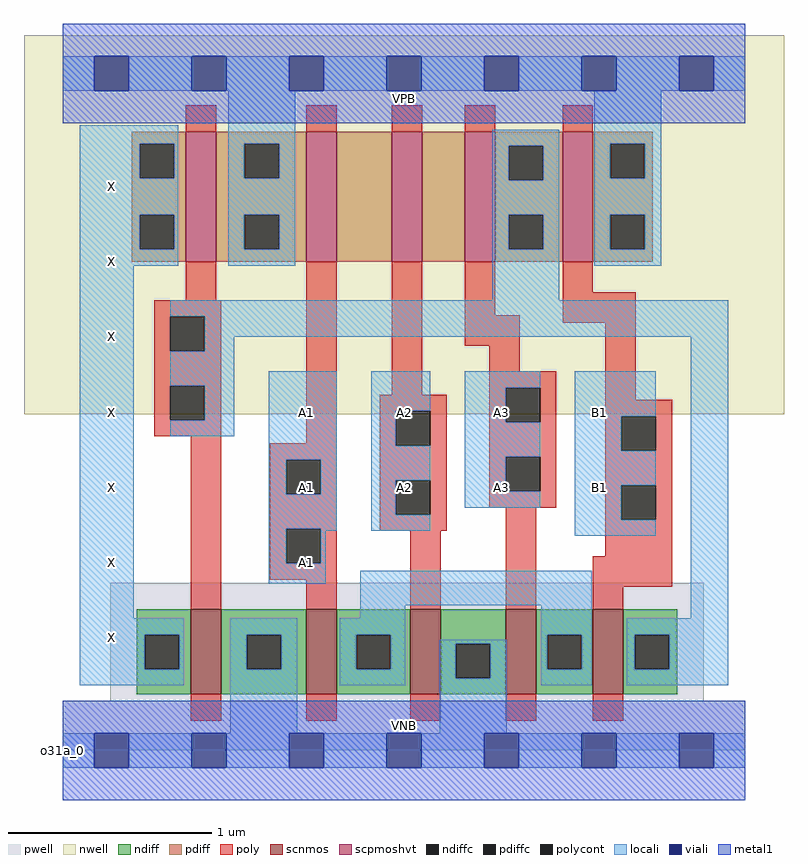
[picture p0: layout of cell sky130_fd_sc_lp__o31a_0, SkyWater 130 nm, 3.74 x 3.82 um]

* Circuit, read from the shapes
.subckt sky130_fd_sc_lp__o31a_0 A1 A2 A3 B1 VGND VNB VPB VPWR X
XM1 VGND n1 X VNB sky130_fd_pr__nfet_01v8 w=0.42 l=0.15
XM2 n2 A1 VGND VNB sky130_fd_pr__nfet_01v8 w=0.42 l=0.15
XM3 VGND A2 n2 VNB sky130_fd_pr__nfet_01v8 w=0.42 l=0.15
XM4 n2 A3 VGND VNB sky130_fd_pr__nfet_01v8 w=0.42 l=0.15
XM5 n1 B1 n2 VNB sky130_fd_pr__nfet_01v8 w=0.42 l=0.15
XM6 VPWR n1 X VPB sky130_fd_pr__pfet_01v8_hvt w=0.64 l=0.15
XM7 n3 A1 VPWR VPB sky130_fd_pr__pfet_01v8_hvt w=0.64 l=0.15
XM8 n4 A2 n3 VPB sky130_fd_pr__pfet_01v8_hvt w=0.64 l=0.15
XM9 n1 A3 n4 VPB sky130_fd_pr__pfet_01v8_hvt w=0.64 l=0.15
XM10 VPWR B1 n1 VPB sky130_fd_pr__pfet_01v8_hvt w=0.64 l=0.15
.ends

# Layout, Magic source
magic
tech sky130A
magscale 1 2
<< nwell >>
rect -38 331 710 704
<< pwell >>
rect 47 49 631 165
rect 0 0 672 49
<< scnmos >>
rect 126 55 156 139
rect 240 55 270 139
rect 342 55 372 139
rect 436 55 466 139
rect 522 55 552 139
<< scpmoshvt >>
rect 121 481 151 609
rect 240 481 270 609
rect 324 481 354 609
rect 396 481 426 609
rect 492 481 522 609
<< ndiff >>
rect 73 114 126 139
rect 73 80 81 114
rect 115 80 126 114
rect 73 55 126 80
rect 156 114 240 139
rect 156 80 181 114
rect 215 80 240 114
rect 156 55 240 80
rect 270 114 342 139
rect 270 80 289 114
rect 323 80 342 114
rect 270 55 342 80
rect 372 105 436 139
rect 372 71 387 105
rect 421 71 436 105
rect 372 55 436 71
rect 466 114 522 139
rect 466 80 477 114
rect 511 80 522 114
rect 466 55 522 80
rect 552 114 605 139
rect 552 80 563 114
rect 597 80 605 114
rect 552 55 605 80
<< pdiff >>
rect 68 597 121 609
rect 68 563 76 597
rect 110 563 121 597
rect 68 527 121 563
rect 68 493 76 527
rect 110 493 121 527
rect 68 481 121 493
rect 151 597 240 609
rect 151 563 179 597
rect 213 563 240 597
rect 151 527 240 563
rect 151 493 179 527
rect 213 493 240 527
rect 151 481 240 493
rect 270 481 324 609
rect 354 481 396 609
rect 426 595 492 609
rect 426 561 439 595
rect 473 561 492 595
rect 426 527 492 561
rect 426 493 439 527
rect 473 493 492 527
rect 426 481 492 493
rect 522 597 581 609
rect 522 563 539 597
rect 573 563 581 597
rect 522 527 581 563
rect 522 493 539 527
rect 573 493 581 527
rect 522 481 581 493
<< ndiffc >>
rect 81 80 115 114
rect 181 80 215 114
rect 289 80 323 114
rect 387 71 421 105
rect 477 80 511 114
rect 563 80 597 114
<< pdiffc >>
rect 76 563 110 597
rect 76 493 110 527
rect 179 563 213 597
rect 179 493 213 527
rect 439 561 473 595
rect 439 493 473 527
rect 539 563 573 597
rect 539 493 573 527
<< poly >>
rect 121 609 151 635
rect 240 609 270 635
rect 324 609 354 635
rect 396 609 426 635
rect 492 609 522 635
rect 121 443 151 481
rect 90 427 156 443
rect 90 393 106 427
rect 140 393 156 427
rect 90 359 156 393
rect 90 325 106 359
rect 140 325 156 359
rect 90 309 156 325
rect 126 139 156 309
rect 240 302 270 481
rect 324 350 354 481
rect 396 428 426 481
rect 492 451 522 481
rect 396 398 450 428
rect 492 421 564 451
rect 420 373 450 398
rect 420 357 486 373
rect 204 286 270 302
rect 204 252 220 286
rect 254 252 270 286
rect 204 218 270 252
rect 204 184 220 218
rect 254 184 270 218
rect 312 334 378 350
rect 312 300 328 334
rect 362 300 378 334
rect 312 266 378 300
rect 312 232 328 266
rect 362 232 378 266
rect 420 323 436 357
rect 470 323 486 357
rect 420 289 486 323
rect 420 255 436 289
rect 470 255 486 289
rect 420 239 486 255
rect 534 345 564 421
rect 534 329 600 345
rect 534 295 550 329
rect 584 295 600 329
rect 534 261 600 295
rect 312 216 378 232
rect 204 168 270 184
rect 240 139 270 168
rect 342 139 372 216
rect 436 139 466 239
rect 534 227 550 261
rect 584 227 600 261
rect 534 191 600 227
rect 522 161 600 191
rect 522 139 552 161
rect 126 29 156 55
rect 240 29 270 55
rect 342 29 372 55
rect 436 29 466 55
rect 522 29 552 55
<< polycont >>
rect 106 393 140 427
rect 106 325 140 359
rect 220 252 254 286
rect 220 184 254 218
rect 328 300 362 334
rect 328 232 362 266
rect 436 323 470 357
rect 436 255 470 289
rect 550 295 584 329
rect 550 227 584 261
<< locali >>
rect 0 649 31 683
rect 65 649 127 683
rect 161 649 223 683
rect 257 649 319 683
rect 353 649 415 683
rect 449 649 511 683
rect 545 649 607 683
rect 641 649 672 683
rect 17 597 114 615
rect 17 563 76 597
rect 110 563 114 597
rect 17 527 114 563
rect 17 493 76 527
rect 110 493 114 527
rect 17 477 114 493
rect 163 597 229 649
rect 163 563 179 597
rect 213 563 229 597
rect 163 527 229 563
rect 163 493 179 527
rect 213 493 229 527
rect 163 477 229 493
rect 423 595 489 611
rect 423 561 439 595
rect 473 561 489 595
rect 423 527 489 561
rect 423 493 439 527
rect 473 493 489 527
rect 17 130 70 477
rect 423 443 489 493
rect 523 597 589 649
rect 523 563 539 597
rect 573 563 589 597
rect 523 527 589 563
rect 523 493 539 527
rect 573 493 589 527
rect 523 477 589 493
rect 106 427 655 443
rect 140 407 655 427
rect 140 393 169 407
rect 106 359 169 393
rect 140 325 169 359
rect 106 309 169 325
rect 203 286 270 373
rect 203 252 220 286
rect 254 252 270 286
rect 203 218 270 252
rect 203 184 220 218
rect 254 216 270 218
rect 304 334 362 373
rect 304 300 328 334
rect 304 266 362 300
rect 304 232 328 266
rect 396 357 470 373
rect 396 323 436 357
rect 396 289 470 323
rect 396 255 436 289
rect 396 239 470 255
rect 504 329 584 373
rect 504 295 550 329
rect 504 261 584 295
rect 304 216 362 232
rect 504 227 550 261
rect 254 184 259 216
rect 504 211 584 227
rect 203 164 259 184
rect 293 143 521 177
rect 293 130 337 143
rect 17 114 119 130
rect 17 80 81 114
rect 115 80 119 114
rect 17 64 119 80
rect 165 114 231 130
rect 165 80 181 114
rect 215 80 231 114
rect 165 17 231 80
rect 273 114 337 130
rect 273 80 289 114
rect 323 80 337 114
rect 471 114 521 143
rect 618 130 655 407
rect 273 64 337 80
rect 371 105 437 109
rect 371 71 387 105
rect 421 71 437 105
rect 371 17 437 71
rect 471 80 477 114
rect 511 80 521 114
rect 471 64 521 80
rect 555 114 655 130
rect 555 80 563 114
rect 597 80 655 114
rect 555 64 655 80
rect 0 -17 31 17
rect 65 -17 127 17
rect 161 -17 223 17
rect 257 -17 319 17
rect 353 -17 415 17
rect 449 -17 511 17
rect 545 -17 607 17
rect 641 -17 672 17
<< viali >>
rect 31 649 65 683
rect 127 649 161 683
rect 223 649 257 683
rect 319 649 353 683
rect 415 649 449 683
rect 511 649 545 683
rect 607 649 641 683
rect 31 -17 65 17
rect 127 -17 161 17
rect 223 -17 257 17
rect 319 -17 353 17
rect 415 -17 449 17
rect 511 -17 545 17
rect 607 -17 641 17
<< metal1 >>
rect 0 683 672 715
rect 0 649 31 683
rect 65 649 127 683
rect 161 649 223 683
rect 257 649 319 683
rect 353 649 415 683
rect 449 649 511 683
rect 545 649 607 683
rect 641 649 672 683
rect 0 617 672 649
rect 0 17 672 49
rect 0 -17 31 17
rect 65 -17 127 17
rect 161 -17 223 17
rect 257 -17 319 17
rect 353 -17 415 17
rect 449 -17 511 17
rect 545 -17 607 17
rect 641 -17 672 17
rect 0 -49 672 -17
<< labels >>
flabel pwell s 0 0 672 49 0 FreeSans 200 0 0 0 VNB
port 6 nsew ground bidirectional
flabel nwell s 0 617 672 666 0 FreeSans 200 0 0 0 VPB
port 7 nsew power bidirectional
rlabel comment s 0 0 0 0 4 o31a_0
flabel metal1 s 0 617 672 666 0 FreeSans 340 0 0 0 VPWR
port 8 nsew power bidirectional
flabel metal1 s 0 0 672 49 0 FreeSans 340 0 0 0 VGND
port 5 nsew ground bidirectional
flabel locali s 223 168 257 202 0 FreeSans 340 0 0 0 A1
port 1 nsew signal input
flabel locali s 223 242 257 276 0 FreeSans 340 0 0 0 A1
port 1 nsew signal input
flabel locali s 223 316 257 350 0 FreeSans 340 0 0 0 A1
port 1 nsew signal input
flabel locali s 319 242 353 276 0 FreeSans 340 0 0 0 A2
port 2 nsew signal input
flabel locali s 319 316 353 350 0 FreeSans 340 0 0 0 A2
port 2 nsew signal input
flabel locali s 511 242 545 276 0 FreeSans 340 0 0 0 B1
port 4 nsew signal input
flabel locali s 511 316 545 350 0 FreeSans 340 0 0 0 B1
port 4 nsew signal input
flabel locali s 31 94 65 128 0 FreeSans 340 0 0 0 X
port 9 nsew signal output
flabel locali s 31 168 65 202 0 FreeSans 340 0 0 0 X
port 9 nsew signal output
flabel locali s 31 242 65 276 0 FreeSans 340 0 0 0 X
port 9 nsew signal output
flabel locali s 31 316 65 350 0 FreeSans 340 0 0 0 X
port 9 nsew signal output
flabel locali s 31 390 65 424 0 FreeSans 340 0 0 0 X
port 9 nsew signal output
flabel locali s 31 464 65 498 0 FreeSans 340 0 0 0 X
port 9 nsew signal output
flabel locali s 31 538 65 572 0 FreeSans 340 0 0 0 X
port 9 nsew signal output
flabel locali s 415 242 449 276 0 FreeSans 340 0 0 0 A3
port 3 nsew signal input
flabel locali s 415 316 449 350 0 FreeSans 340 0 0 0 A3
port 3 nsew signal input
<< properties >>
string LEFsite unit
string LEFclass CORE
string FIXED_BBOX 0 0 672 666
string GDS_FILE $PDKPATH/libs.ref/sky130_fd_sc_lp/gds/sky130_fd_sc_lp.gds
string LEFsymmetry X Y R90
string GDS_END 1244452
string GDS_START 1236936
<< end >>
